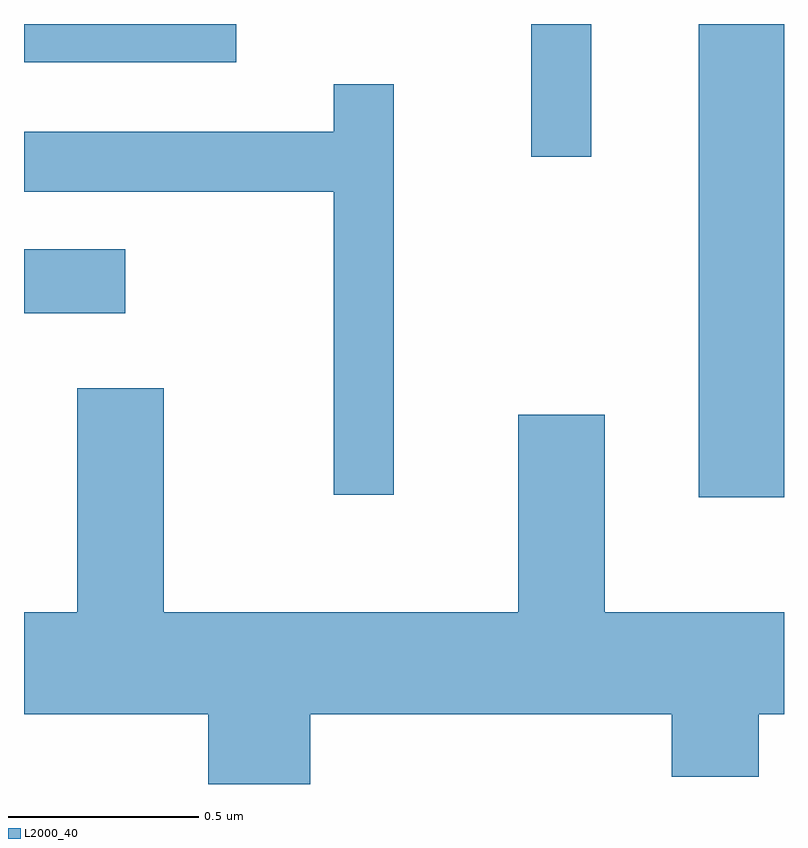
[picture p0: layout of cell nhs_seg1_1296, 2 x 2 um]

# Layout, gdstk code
import gdstk
lib = gdstk.Library(unit=1e-6, precision=1e-09)
def R(c, l, rs):  # rectangles x0, y0, x1, y1
    for r in rs: c.add(gdstk.rectangle(r[:2], r[2:], *l))
def P(c, l, *ps):  # polygons
    for p in ps: c.add(gdstk.Polygon(p, *l))
L2000_40 = (2000, 40)

nhs_seg1_1296 = lib.new_cell('nhs_seg1_1296')
R(nhs_seg1_1296, L2000_40, [(196.386,913.466,196.611,914.712), (194.611,913.951,194.878,914.119), (195.946,914.363,196.104,914.712), (194.611,914.611,195.169,914.712)])
P(nhs_seg1_1296, L2000_40, [(195.584,914.553),(195.426,914.553),(195.426,914.429),(194.611,914.429),(194.611,914.271),(195.426,914.271),(195.426,913.473),(195.584,913.473)],
  [(195.364,912.896),(196.316,912.896),(196.316,912.731),(196.544,912.731),(196.544,912.896),(196.611,912.896),(196.611,913.164),(196.139,913.164),(196.139,913.684),(195.911,913.684),(195.911,913.164),(194.979,913.164),(194.979,913.754),(194.751,913.754),(194.751,913.164),(194.611,913.164),(194.611,912.896),(195.096,912.896),(195.096,912.712),(195.364,912.712)])

lib.write_gds('nhs_seg1_1296.gds')
